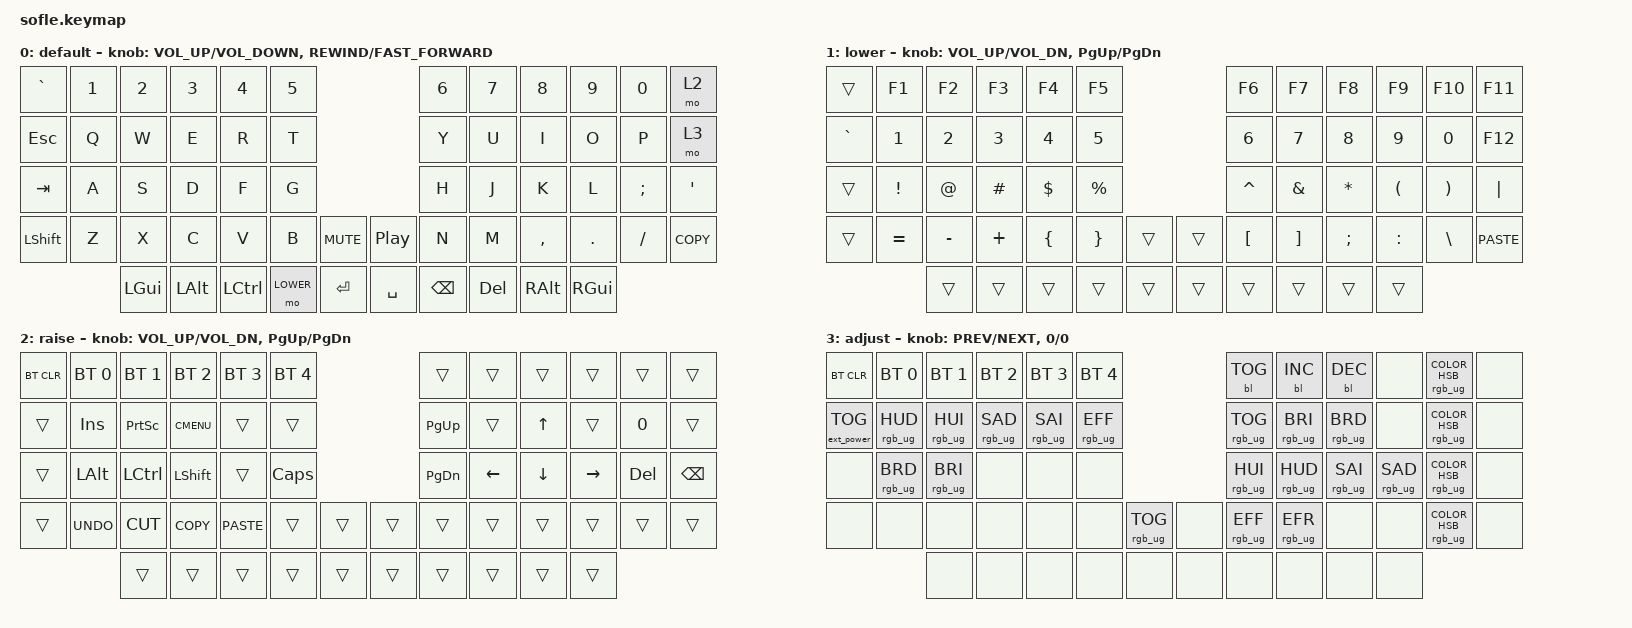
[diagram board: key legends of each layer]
/*
 * Copyright (c) 2020 The ZMK Contributors
 *
 * SPDX-License-Identifier: MIT
 */

#include <behaviors/mouse_keys.dtsi>
#include <behaviors.dtsi>
#include <dt-bindings/zmk/bt.h>
#include <dt-bindings/zmk/keys.h>
#include <dt-bindings/zmk/mouse.h>
#include <dt-bindings/zmk/outputs.h>
#include <dt-bindings/zmk/rgb.h>

#define ZMK_MOUSE_DEFAULT_MOVE_VAL 1200  // 600
#define ZMK_MOUSE_DEFAULT_SCRL_VAL 20    // 10
#define U_MS_U &mmv MOVE_UP
#define U_MS_D &mmv MOVE_DOWN
#define U_MS_L &mmv MOVE_LEFT
#define U_MS_R &mmv MOVE_RIGHT
#define ZMK_MOUSE_DEFAULT_MOVE_VAL 1200  //  600
#define ZMK_MOUSE_DEFAULT_SCRL_VAL 20    // 10

#define BASE 0
#define LOWER 1
#define RAISE 2
#define ADJUST 3

/ {
    behaviors {
        mmv {
            acceleration-exponent = <1>;      // 1
            time-to-max-speed-ms = <900>;    // 40
            delay-ms = <0>;                   // 0
        };

        msc {
            acceleration-exponent = <1>;      // 0
            time-to-max-speed-ms = <400>;      // 500
            delay-ms = <0>;                   //   10
        };
    };
 {
    scroll_encoder: scroll_encoder {
        compatible = "zmk,behavior-sensor-rotate";
        #sensor-binding-cells = <0>;
        bindings = <&msc SCRL_DOWN>, <&msc SCRL_UP>;

        tap-ms = <30>;
    };

  {
    // Activate ADJUST layer by pressing raise and lower

    conditional_layers {
        compatible = "zmk,conditional-layers";

        adjust_layer {
            if-layers = <LOWER RAISE>;
            then-layer = <ADJUST>;
        };
    };

    keymap {
        compatible = "zmk,keymap";

        default_layer {
            display-name = "default";

            // ------------------------------------------------------------------------------------------------------------
            // |   `   |  1  |  2  |  3   |  4   |  5   |                   |  6   |  7    |  8    |  9   |   0   |       |
            // |  ESC  |  Q  |  W  |  E   |  R   |  T   |                   |  Y   |  U    |  I    |  O   |   P   | BKSPC |
            // |  TAB  |  A  |  S  |  D   |  F   |  G   |                   |  H   |  J    |  K    |  L   |   ;   |   '   |
            // | SHIFT |  Z  |  X  |  C   |  V   |  B   |  MUTE  |  |       |  N   |  M    |  ,    |  .   |   /   | SHIFT |
            //               | GUI | ALT  | CTRL | LOWER|  ENTER |  | SPACE | RAISE| CTRL  | ALT   | GUI  |

            bindings = <
&kp GRAVE  &kp N1  &kp N2    &kp N3    &kp N4     &kp N5                                     &kp N6         &kp N7   &kp N8     &kp N9    &kp N0    &mo 2
&kp ESC    &kp Q   &kp W     &kp E     &kp R      &kp T                                      &kp Y          &kp U    &kp I      &kp O     &kp P     &mo 3
&kp TAB    &kp A   &kp S     &kp D     &kp F      &kp G                                      &kp H          &kp J    &kp K      &kp L     &kp SEMI  &kp SQT
&kp LSHFT  &kp Z   &kp X     &kp C     &kp V      &kp B      &kp C_MUTE    &kp C_PLAY_PAUSE  &kp N          &kp M    &kp COMMA  &kp DOT   &kp FSLH  &kp K_COPY
                   &kp LGUI  &kp LALT  &kp LCTRL  &mo LOWER  &kp RET       &kp SPACE         &kp BACKSPACE  &kp DEL  &kp RALT   &kp RGUI
            >;

            sensor-bindings =
                <&inc_dec_kp K_VOLUME_UP K_VOLUME_DOWN>,
                <&inc_dec_kp C_REWIND C_FAST_FORWARD>;
        };

        lower_layer {
            display-name = "lower";

            // TODO: Some binds are waiting for shifted keycode support.
            // ------------------------------------------------------------------------------------------------------------
            // |       |  F1 |  F2 |  F3  |  F4  |  F5  |                   |  F6  |  F7   |  F8   |  F9  |  F10  |  F11  |
            // |   `   |  1  |  2  |  3   |  4   |  5   |                   |  6   |  7    |  8    |  9   |   0   |  F12  |
            // |       |  !  |  @  |  #   |  $   |  %   |                   |  ^   |  &    |  *    |  (   |   )   |   |   |
            // |       |  =  |  -  |  +   |  {   |  }   |        |  |       |  [   |  ]    |  ;    |  :   |   \   |       |
            //               |     |      |      |      |        |  |       |      |       |       |      |

            bindings = <
&trans     &kp F1     &kp F2     &kp F3    &kp F4    &kp F5                       &kp F6     &kp F7    &kp F8     &kp F9     &kp F10   &kp F11
&kp GRAVE  &kp N1     &kp N2     &kp N3    &kp N4    &kp N5                       &kp N6     &kp N7    &kp N8     &kp N9     &kp N0    &kp F12
&trans     &kp EXCL   &kp AT     &kp HASH  &kp DLLR  &kp PRCNT                    &kp CARET  &kp AMPS  &kp ASTRK  &kp LPAR   &kp RPAR  &kp PIPE
&trans     &kp EQUAL  &kp MINUS  &kp PLUS  &kp LBRC  &kp RBRC   &trans    &trans  &kp LBKT   &kp RBKT  &kp SEMI   &kp COLON  &kp BSLH  &kp K_PASTE
                      &trans     &trans    &trans    &trans     &trans    &trans  &trans     &trans    &trans     &trans
            >;

            sensor-bindings = <&inc_dec_kp C_VOL_UP C_VOL_DN &inc_dec_kp PG_UP PG_DN>;
        };

        raise_layer {
            display-name = "raise";

            // ------------------------------------------------------------------------------------------------------------
            // | BTCLR | BT1  | BT2  |  BT3  |  BT4  |  BT5 |                |      |      |       |      |       |       |
            // |       | INS  | PSCR | GUI   |       |      |                | PGUP |      |   ^   |      |       |       |
            // |       | ALT  | CTRL | SHIFT |       | CAPS |                | PGDN |   <- |   v   |  ->  |  DEL  | BKSPC |
            // |       | UNDO | CUT  | COPY  | PASTE |      |      |  |      |      |      |       |      |       |       |
            //                |      |       |       |      |      |  |      |      |      |       |      |

            bindings = <
&bt BT_CLR  &bt BT_SEL 0  &bt BT_SEL 1  &bt BT_SEL 2  &bt BT_SEL 3  &bt BT_SEL 4                    &trans     &trans    &trans    &trans     &trans   &trans
&trans      &kp INS       &kp PSCRN     &kp K_CMENU   &trans        &trans                          &kp PG_UP  &trans    &kp UP    &trans     &kp N0   &trans
&trans      &kp LALT      &kp LCTRL     &kp LSHFT     &trans        &kp CLCK                        &kp PG_DN  &kp LEFT  &kp DOWN  &kp RIGHT  &kp DEL  &kp BSPC
&trans      &kp K_UNDO    &kp K_CUT     &kp K_COPY    &kp K_PASTE   &trans        &trans    &trans  &trans     &trans    &trans    &trans     &trans   &trans
                          &trans        &trans        &trans        &trans        &trans    &trans  &trans     &trans    &trans    &trans
            >;

            sensor-bindings = <&inc_dec_kp C_VOL_UP C_VOL_DN &inc_dec_kp PG_UP PG_DN>;
        };

        adjust_layer {
            // ----------------------------------------------------------------------------------------------------------------------------
            // | BTCLR  |  BT1    |  BT2    |   BT3   |   BT4   |   BT5   |                  |      |      |       |      |       |       |
            // | EXTPWR | RGB_HUD | RGB_HUI | RGB_SAD | RGB_SAI | RGB_EFF |                  |      |      |       |      |       |       |
            // |        | RGB_BRD | RGB_BRI |         |         |         |                  |      |      |       |      |       |       |
            // |        |         |         |         |         |         | RGB_TOG | |      |      |      |       |      |       |       |
            //                    |         |         |         |         |         | |      |      |      |       |      |

            display-name = "adjust";
            bindings = <
&bt BT_CLR         &bt BT_SEL 0     &bt BT_SEL 1     &bt BT_SEL 2     &bt BT_SEL 3     &bt BT_SEL 4                               &bl BL_TOG       &bl BL_INC       &bl BL_DEC       &none            &rgb_ug RGB_COLOR_HSB(0,98,49)     &none
&ext_power EP_TOG  &rgb_ug RGB_HUD  &rgb_ug RGB_HUI  &rgb_ug RGB_SAD  &rgb_ug RGB_SAI  &rgb_ug RGB_EFF                            &rgb_ug RGB_TOG  &rgb_ug RGB_BRI  &rgb_ug RGB_BRD  &none            &rgb_ug RGB_COLOR_HSB(242,87,48)   &none
&none              &rgb_ug RGB_BRD  &rgb_ug RGB_BRI  &none            &none            &none                                      &rgb_ug RGB_HUI  &rgb_ug RGB_HUD  &rgb_ug RGB_SAI  &rgb_ug RGB_SAD  &rgb_ug RGB_COLOR_HSB(116,100,49)  &none
&none              &none            &none            &none            &none            &none            &rgb_ug RGB_TOG    &none  &rgb_ug RGB_EFF  &rgb_ug RGB_EFR  &none            &none            &rgb_ug RGB_COLOR_HSB(67,100,48)   &none
                                    &none            &none            &none            &none            &none              &none  &none            &none            &none            &none
            >;

            sensor-bindings = <&inc_dec_kp K_PREV K_NEXT>, <&inc_dec_kp 0 0>;
        };
    };
};
